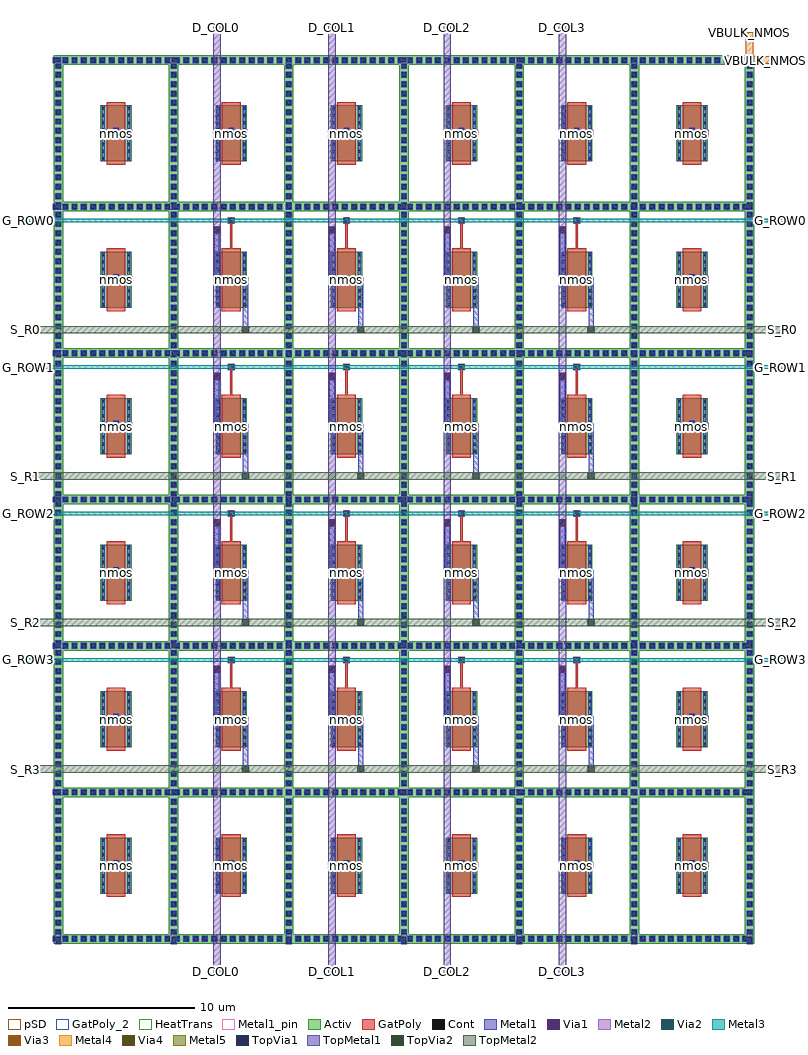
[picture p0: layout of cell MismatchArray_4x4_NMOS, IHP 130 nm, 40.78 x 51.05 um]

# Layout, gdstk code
import gdstk
lib = gdstk.Library(unit=1e-6, precision=1e-09)
def R(c, l, rs):  # rectangles x0, y0, x1, y1
    for r in rs: c.add(gdstk.rectangle(r[:2], r[2:], *l))
def A(c, l, x, y, w, h, nx, ny, dx, dy):  # array of equal rectangles
    R(c, l, [(x+i*dx, y+j*dy, x+i*dx+w, y+j*dy+h) for i in range(nx) for j in range(ny)])
Activ = (1, 0)
GatPoly = (5, 0)
GatPoly_2 = (5, 2)
Cont = (6, 0)
Metal1 = (8, 0)
Metal1_pin = (8, 2)
Metal2 = (10, 0)
pSD = (14, 0)
Via1 = (19, 0)
Via2 = (29, 0)
Metal3 = (30, 0)
Via3 = (49, 0)
Metal4 = (50, 0)
HeatTrans = (51, 0)
Via4 = (66, 0)
Metal5 = (67, 0)
TopVia1 = (125, 0)
TopMetal1 = (126, 0)
TopVia2 = (133, 0)
TopMetal2 = (134, 0)

mismatcharray_4x4_nmos = lib.new_cell('MismatchArray_4x4_NMOS')
A(mismatcharray_4x4_nmos, Activ, 0, 0, 0.5, 47.654, 7, 1, 6.18, 0)
A(mismatcharray_4x4_nmos, Activ, 0, 0, 37.58, 0.5, 1, 7, 0, 7.859)
A(mismatcharray_4x4_nmos, Activ, 2.5, 2.679, 0.3, 0.3, 1, 6, 0, 7.859)
A(mismatcharray_4x4_nmos, Activ, 2.5, 2.679, 1.68, 3, 6, 6, 6.18, 7.859)
A(mismatcharray_4x4_nmos, Activ, 3.88, 2.679, 0.3, 0.3, 1, 6, 0, 7.859)
A(mismatcharray_4x4_nmos, Activ, 8.68, 2.679, 0.3, 0.3, 1, 6, 0, 7.859)
A(mismatcharray_4x4_nmos, Activ, 10.06, 2.679, 0.3, 0.3, 1, 6, 0, 7.859)
A(mismatcharray_4x4_nmos, Activ, 14.86, 2.679, 0.3, 0.3, 1, 6, 0, 7.859)
A(mismatcharray_4x4_nmos, Activ, 16.24, 2.679, 0.3, 0.3, 1, 6, 0, 7.859)
A(mismatcharray_4x4_nmos, Activ, 21.04, 2.679, 0.3, 0.3, 1, 6, 0, 7.859)
A(mismatcharray_4x4_nmos, Activ, 22.42, 2.679, 0.3, 0.3, 1, 6, 0, 7.859)
A(mismatcharray_4x4_nmos, Activ, 27.22, 2.679, 0.3, 0.3, 1, 6, 0, 7.859)
A(mismatcharray_4x4_nmos, Activ, 28.6, 2.679, 0.3, 0.3, 1, 6, 0, 7.859)
A(mismatcharray_4x4_nmos, Activ, 33.4, 2.679, 0.3, 0.3, 1, 6, 0, 7.859)
A(mismatcharray_4x4_nmos, Activ, 34.78, 2.679, 0.3, 0.3, 1, 6, 0, 7.859)
A(mismatcharray_4x4_nmos, GatPoly, 2.84, 2.499, 1, 3.36, 6, 6, 6.18, 7.859)
A(mismatcharray_4x4_nmos, GatPoly, 3.275, 4.179, 0.13, 0.3, 6, 2, 6.18, 39.295)
A(mismatcharray_4x4_nmos, GatPoly, 3.275, 12.038, 0.13, 0.3, 1, 4, 0, 7.859)
A(mismatcharray_4x4_nmos, GatPoly, 34.175, 12.038, 0.13, 0.3, 1, 4, 0, 7.859)
A(mismatcharray_4x4_nmos, GatPoly, 9.455, 13.718, 0.13, 1.5, 4, 4, 6.18, 7.859)
A(mismatcharray_4x4_nmos, GatPoly_2, 2.84, 2.499, 1, 3.36, 6, 6, 6.18, 7.859)
A(mismatcharray_4x4_nmos, Cont, 0.14, 0, 0.22, 0.22, 7, 95, 6.18, 0.5)
A(mismatcharray_4x4_nmos, Cont, 0, 0.14, 0.22, 0.22, 1, 7, 0, 7.859)
A(mismatcharray_4x4_nmos, Cont, 0.14, 0.14, 0.22, 0.22, 1, 7, 0, 7.859)
A(mismatcharray_4x4_nmos, Cont, 0.5, 0.14, 0.22, 0.22, 12, 7, 0.5, 7.859)
A(mismatcharray_4x4_nmos, Cont, 6.32, 0.14, 0.22, 0.22, 1, 7, 0, 7.859)
A(mismatcharray_4x4_nmos, Cont, 6.5, 0.14, 0.22, 0.22, 13, 7, 0.5, 7.859)
A(mismatcharray_4x4_nmos, Cont, 12.5, 0.14, 0.22, 0.22, 13, 7, 0.5, 7.859)
A(mismatcharray_4x4_nmos, Cont, 18.68, 0.14, 0.22, 0.22, 1, 7, 0, 7.859)
A(mismatcharray_4x4_nmos, Cont, 19, 0.14, 0.22, 0.22, 12, 7, 0.5, 7.859)
A(mismatcharray_4x4_nmos, Cont, 24.86, 0.14, 0.22, 0.22, 1, 7, 0, 7.859)
A(mismatcharray_4x4_nmos, Cont, 25, 0.14, 0.22, 0.22, 13, 7, 0.5, 7.859)
A(mismatcharray_4x4_nmos, Cont, 31.04, 0.14, 0.22, 0.22, 1, 7, 0, 7.859)
A(mismatcharray_4x4_nmos, Cont, 31.5, 0.14, 0.22, 0.22, 12, 7, 0.5, 7.859)
A(mismatcharray_4x4_nmos, Cont, 37.22, 0.14, 0.22, 0.22, 1, 7, 0, 7.859)
A(mismatcharray_4x4_nmos, Cont, 2.57, 2.749, 0.16, 0.16, 1, 7, 0, 0.385)
A(mismatcharray_4x4_nmos, Cont, 3.95, 2.749, 0.16, 0.16, 1, 7, 0, 0.385)
A(mismatcharray_4x4_nmos, Cont, 8.75, 2.749, 0.16, 0.16, 1, 7, 0, 0.385)
A(mismatcharray_4x4_nmos, Cont, 10.13, 2.749, 0.16, 0.16, 1, 7, 0, 0.385)
A(mismatcharray_4x4_nmos, Cont, 14.93, 2.749, 0.16, 0.16, 1, 7, 0, 0.385)
A(mismatcharray_4x4_nmos, Cont, 16.31, 2.749, 0.16, 0.16, 1, 7, 0, 0.385)
A(mismatcharray_4x4_nmos, Cont, 21.11, 2.749, 0.16, 0.16, 1, 7, 0, 0.385)
A(mismatcharray_4x4_nmos, Cont, 22.49, 2.749, 0.16, 0.16, 1, 7, 0, 0.385)
A(mismatcharray_4x4_nmos, Cont, 27.29, 2.749, 0.16, 0.16, 1, 7, 0, 0.385)
A(mismatcharray_4x4_nmos, Cont, 28.67, 2.749, 0.16, 0.16, 1, 7, 0, 0.385)
A(mismatcharray_4x4_nmos, Cont, 33.47, 2.749, 0.16, 0.16, 1, 7, 0, 0.385)
A(mismatcharray_4x4_nmos, Cont, 34.85, 2.749, 0.16, 0.16, 1, 7, 0, 0.385)
A(mismatcharray_4x4_nmos, Cont, 3.23, 4.259, 0.22, 0.22, 6, 2, 6.18, 39.295)
A(mismatcharray_4x4_nmos, Cont, 2.57, 10.608, 0.16, 0.16, 1, 7, 0, 0.385)
A(mismatcharray_4x4_nmos, Cont, 3.95, 10.608, 0.16, 0.16, 1, 7, 0, 0.385)
A(mismatcharray_4x4_nmos, Cont, 8.75, 10.608, 0.16, 0.16, 1, 7, 0, 0.385)
A(mismatcharray_4x4_nmos, Cont, 10.13, 10.608, 0.16, 0.16, 1, 7, 0, 0.385)
A(mismatcharray_4x4_nmos, Cont, 14.93, 10.608, 0.16, 0.16, 1, 7, 0, 0.385)
A(mismatcharray_4x4_nmos, Cont, 16.31, 10.608, 0.16, 0.16, 1, 7, 0, 0.385)
A(mismatcharray_4x4_nmos, Cont, 21.11, 10.608, 0.16, 0.16, 1, 7, 0, 0.385)
A(mismatcharray_4x4_nmos, Cont, 22.49, 10.608, 0.16, 0.16, 1, 7, 0, 0.385)
A(mismatcharray_4x4_nmos, Cont, 27.29, 10.608, 0.16, 0.16, 1, 7, 0, 0.385)
A(mismatcharray_4x4_nmos, Cont, 28.67, 10.608, 0.16, 0.16, 1, 7, 0, 0.385)
A(mismatcharray_4x4_nmos, Cont, 33.47, 10.608, 0.16, 0.16, 1, 7, 0, 0.385)
A(mismatcharray_4x4_nmos, Cont, 34.85, 10.608, 0.16, 0.16, 1, 7, 0, 0.385)
A(mismatcharray_4x4_nmos, Cont, 3.23, 12.118, 0.22, 0.22, 1, 4, 0, 7.859)
A(mismatcharray_4x4_nmos, Cont, 34.13, 12.118, 0.22, 0.22, 1, 4, 0, 7.859)
A(mismatcharray_4x4_nmos, Cont, 9.41, 15.108, 0.22, 0.22, 4, 4, 6.18, 7.859)
A(mismatcharray_4x4_nmos, Cont, 2.57, 18.467, 0.16, 0.16, 1, 7, 0, 0.385)
A(mismatcharray_4x4_nmos, Cont, 3.95, 18.467, 0.16, 0.16, 1, 7, 0, 0.385)
A(mismatcharray_4x4_nmos, Cont, 8.75, 18.467, 0.16, 0.16, 1, 7, 0, 0.385)
A(mismatcharray_4x4_nmos, Cont, 10.13, 18.467, 0.16, 0.16, 1, 7, 0, 0.385)
A(mismatcharray_4x4_nmos, Cont, 14.93, 18.467, 0.16, 0.16, 1, 7, 0, 0.385)
A(mismatcharray_4x4_nmos, Cont, 16.31, 18.467, 0.16, 0.16, 1, 7, 0, 0.385)
A(mismatcharray_4x4_nmos, Cont, 21.11, 18.467, 0.16, 0.16, 1, 7, 0, 0.385)
A(mismatcharray_4x4_nmos, Cont, 22.49, 18.467, 0.16, 0.16, 1, 7, 0, 0.385)
A(mismatcharray_4x4_nmos, Cont, 27.29, 18.467, 0.16, 0.16, 1, 7, 0, 0.385)
A(mismatcharray_4x4_nmos, Cont, 28.67, 18.467, 0.16, 0.16, 1, 7, 0, 0.385)
A(mismatcharray_4x4_nmos, Cont, 33.47, 18.467, 0.16, 0.16, 1, 7, 0, 0.385)
A(mismatcharray_4x4_nmos, Cont, 34.85, 18.467, 0.16, 0.16, 1, 7, 0, 0.385)
A(mismatcharray_4x4_nmos, Cont, 2.57, 26.326, 0.16, 0.16, 1, 7, 0, 0.385)
A(mismatcharray_4x4_nmos, Cont, 3.95, 26.326, 0.16, 0.16, 1, 7, 0, 0.385)
A(mismatcharray_4x4_nmos, Cont, 8.75, 26.326, 0.16, 0.16, 1, 7, 0, 0.385)
A(mismatcharray_4x4_nmos, Cont, 10.13, 26.326, 0.16, 0.16, 1, 7, 0, 0.385)
A(mismatcharray_4x4_nmos, Cont, 14.93, 26.326, 0.16, 0.16, 1, 7, 0, 0.385)
A(mismatcharray_4x4_nmos, Cont, 16.31, 26.326, 0.16, 0.16, 1, 7, 0, 0.385)
A(mismatcharray_4x4_nmos, Cont, 21.11, 26.326, 0.16, 0.16, 1, 7, 0, 0.385)
A(mismatcharray_4x4_nmos, Cont, 22.49, 26.326, 0.16, 0.16, 1, 7, 0, 0.385)
A(mismatcharray_4x4_nmos, Cont, 27.29, 26.326, 0.16, 0.16, 1, 7, 0, 0.385)
A(mismatcharray_4x4_nmos, Cont, 28.67, 26.326, 0.16, 0.16, 1, 7, 0, 0.385)
A(mismatcharray_4x4_nmos, Cont, 33.47, 26.326, 0.16, 0.16, 1, 7, 0, 0.385)
A(mismatcharray_4x4_nmos, Cont, 34.85, 26.326, 0.16, 0.16, 1, 7, 0, 0.385)
A(mismatcharray_4x4_nmos, Cont, 2.57, 34.185, 0.16, 0.16, 1, 7, 0, 0.385)
A(mismatcharray_4x4_nmos, Cont, 3.95, 34.185, 0.16, 0.16, 1, 7, 0, 0.385)
A(mismatcharray_4x4_nmos, Cont, 8.75, 34.185, 0.16, 0.16, 1, 7, 0, 0.385)
A(mismatcharray_4x4_nmos, Cont, 10.13, 34.185, 0.16, 0.16, 1, 7, 0, 0.385)
A(mismatcharray_4x4_nmos, Cont, 14.93, 34.185, 0.16, 0.16, 1, 7, 0, 0.385)
A(mismatcharray_4x4_nmos, Cont, 16.31, 34.185, 0.16, 0.16, 1, 7, 0, 0.385)
A(mismatcharray_4x4_nmos, Cont, 21.11, 34.185, 0.16, 0.16, 1, 7, 0, 0.385)
A(mismatcharray_4x4_nmos, Cont, 22.49, 34.185, 0.16, 0.16, 1, 7, 0, 0.385)
A(mismatcharray_4x4_nmos, Cont, 27.29, 34.185, 0.16, 0.16, 1, 7, 0, 0.385)
A(mismatcharray_4x4_nmos, Cont, 28.67, 34.185, 0.16, 0.16, 1, 7, 0, 0.385)
A(mismatcharray_4x4_nmos, Cont, 33.47, 34.185, 0.16, 0.16, 1, 7, 0, 0.385)
A(mismatcharray_4x4_nmos, Cont, 34.85, 34.185, 0.16, 0.16, 1, 7, 0, 0.385)
A(mismatcharray_4x4_nmos, Cont, 2.57, 42.044, 0.16, 0.16, 1, 7, 0, 0.385)
A(mismatcharray_4x4_nmos, Cont, 3.95, 42.044, 0.16, 0.16, 1, 7, 0, 0.385)
A(mismatcharray_4x4_nmos, Cont, 8.75, 42.044, 0.16, 0.16, 1, 7, 0, 0.385)
A(mismatcharray_4x4_nmos, Cont, 10.13, 42.044, 0.16, 0.16, 1, 7, 0, 0.385)
A(mismatcharray_4x4_nmos, Cont, 14.93, 42.044, 0.16, 0.16, 1, 7, 0, 0.385)
A(mismatcharray_4x4_nmos, Cont, 16.31, 42.044, 0.16, 0.16, 1, 7, 0, 0.385)
A(mismatcharray_4x4_nmos, Cont, 21.11, 42.044, 0.16, 0.16, 1, 7, 0, 0.385)
A(mismatcharray_4x4_nmos, Cont, 22.49, 42.044, 0.16, 0.16, 1, 7, 0, 0.385)
A(mismatcharray_4x4_nmos, Cont, 27.29, 42.044, 0.16, 0.16, 1, 7, 0, 0.385)
A(mismatcharray_4x4_nmos, Cont, 28.67, 42.044, 0.16, 0.16, 1, 7, 0, 0.385)
A(mismatcharray_4x4_nmos, Cont, 33.47, 42.044, 0.16, 0.16, 1, 7, 0, 0.385)
A(mismatcharray_4x4_nmos, Cont, 34.85, 42.044, 0.16, 0.16, 1, 7, 0, 0.385)
R(mismatcharray_4x4_nmos, Cont, [(2.57,5.449,2.73,5.609), (3.95,5.449,4.11,5.609), (8.75,5.449,8.91,5.609), (10.13,5.449,10.29,5.609), (14.93,5.449,15.09,5.609), (16.31,5.449,16.47,5.609), (21.11,5.449,21.27,5.609), (22.49,5.449,22.65,5.609), (27.29,5.449,27.45,5.609), (28.67,5.449,28.83,5.609), (33.47,5.449,33.63,5.609), (34.85,5.449,35.01,5.609), (2.57,13.308,2.73,13.468), (3.95,13.308,4.11,13.468), (8.75,13.308,8.91,13.468), (10.13,13.308,10.29,13.468), (14.93,13.308,15.09,13.468), (16.31,13.308,16.47,13.468), (21.11,13.308,21.27,13.468), (22.49,13.308,22.65,13.468), (27.29,13.308,27.45,13.468), (28.67,13.308,28.83,13.468), (33.47,13.308,33.63,13.468), (34.85,13.308,35.01,13.468), (2.57,21.167,2.73,21.327), (3.95,21.167,4.11,21.327), (8.75,21.167,8.91,21.327), (10.13,21.167,10.29,21.327), (14.93,21.167,15.09,21.327), (16.31,21.167,16.47,21.327), (21.11,21.167,21.27,21.327), (22.49,21.167,22.65,21.327), (27.29,21.167,27.45,21.327), (28.67,21.167,28.83,21.327), (33.47,21.167,33.63,21.327), (34.85,21.167,35.01,21.327), (2.57,29.026,2.73,29.186), (3.95,29.026,4.11,29.186), (8.75,29.026,8.91,29.186), (10.13,29.026,10.29,29.186), (14.93,29.026,15.09,29.186), (16.31,29.026,16.47,29.186), (21.11,29.026,21.27,29.186), (22.49,29.026,22.65,29.186), (27.29,29.026,27.45,29.186), (28.67,29.026,28.83,29.186), (33.47,29.026,33.63,29.186), (34.85,29.026,35.01,29.186), (2.57,36.885,2.73,37.045), (3.95,36.885,4.11,37.045), (8.75,36.885,8.91,37.045), (10.13,36.885,10.29,37.045), (14.93,36.885,15.09,37.045), (16.31,36.885,16.47,37.045), (21.11,36.885,21.27,37.045), (22.49,36.885,22.65,37.045), (27.29,36.885,27.45,37.045), (28.67,36.885,28.83,37.045), (33.47,36.885,33.63,37.045), (34.85,36.885,35.01,37.045), (2.57,44.744,2.73,44.904), (3.95,44.744,4.11,44.904), (8.75,44.744,8.91,44.904), (10.13,44.744,10.29,44.904), (14.93,44.744,15.09,44.904), (16.31,44.744,16.47,44.904), (21.11,44.744,21.27,44.904), (22.49,44.744,22.65,44.904), (27.29,44.744,27.45,44.904), (28.67,44.744,28.83,44.904), (33.47,44.744,33.63,44.904), (34.85,44.744,35.01,44.904)])
A(mismatcharray_4x4_nmos, Metal1, 0.09, -0.05, 0.32, 0.32, 7, 95, 6.18, 0.5)
A(mismatcharray_4x4_nmos, Metal1, -0.05, 0.09, 0.32, 0.32, 1, 7, 0, 7.859)
A(mismatcharray_4x4_nmos, Metal1, 0.09, 0.09, 0.32, 0.32, 1, 7, 0, 7.859)
A(mismatcharray_4x4_nmos, Metal1, 0.45, 0.09, 0.32, 0.32, 12, 7, 0.5, 7.859)
A(mismatcharray_4x4_nmos, Metal1, 6.27, 0.09, 0.32, 0.32, 1, 7, 0, 7.859)
A(mismatcharray_4x4_nmos, Metal1, 6.45, 0.09, 0.32, 0.32, 13, 7, 0.5, 7.859)
A(mismatcharray_4x4_nmos, Metal1, 12.45, 0.09, 0.32, 0.32, 13, 7, 0.5, 7.859)
A(mismatcharray_4x4_nmos, Metal1, 18.63, 0.09, 0.32, 0.32, 1, 7, 0, 7.859)
A(mismatcharray_4x4_nmos, Metal1, 18.95, 0.09, 0.32, 0.32, 12, 7, 0.5, 7.859)
A(mismatcharray_4x4_nmos, Metal1, 24.81, 0.09, 0.32, 0.32, 1, 7, 0, 7.859)
A(mismatcharray_4x4_nmos, Metal1, 24.95, 0.09, 0.32, 0.32, 13, 7, 0.5, 7.859)
A(mismatcharray_4x4_nmos, Metal1, 30.99, 0.09, 0.32, 0.32, 1, 7, 0, 7.859)
A(mismatcharray_4x4_nmos, Metal1, 31.45, 0.09, 0.32, 0.32, 12, 7, 0.5, 7.859)
A(mismatcharray_4x4_nmos, Metal1, 37.17, 0.09, 0.32, 0.32, 1, 7, 0, 7.859)
A(mismatcharray_4x4_nmos, Metal1, 2.57, 2.679, 0.16, 3, 1, 6, 0, 7.859)
A(mismatcharray_4x4_nmos, Metal1, 3.95, 2.679, 0.16, 3, 1, 6, 0, 7.859)
A(mismatcharray_4x4_nmos, Metal1, 8.75, 2.679, 0.16, 3, 1, 6, 0, 7.859)
A(mismatcharray_4x4_nmos, Metal1, 10.13, 2.679, 0.16, 3, 1, 6, 0, 7.859)
A(mismatcharray_4x4_nmos, Metal1, 14.93, 2.679, 0.16, 3, 1, 6, 0, 7.859)
A(mismatcharray_4x4_nmos, Metal1, 16.31, 2.679, 0.16, 3, 1, 6, 0, 7.859)
A(mismatcharray_4x4_nmos, Metal1, 21.11, 2.679, 0.16, 3, 1, 6, 0, 7.859)
A(mismatcharray_4x4_nmos, Metal1, 22.49, 2.679, 0.16, 3, 1, 6, 0, 7.859)
A(mismatcharray_4x4_nmos, Metal1, 27.29, 2.679, 0.16, 3, 1, 6, 0, 7.859)
A(mismatcharray_4x4_nmos, Metal1, 28.67, 2.679, 0.16, 3, 1, 6, 0, 7.859)
A(mismatcharray_4x4_nmos, Metal1, 33.47, 2.679, 0.16, 3, 1, 6, 0, 7.859)
A(mismatcharray_4x4_nmos, Metal1, 34.85, 2.679, 0.16, 3, 1, 6, 0, 7.859)
A(mismatcharray_4x4_nmos, Metal1, 3.2, 3.999, 0.28, 0.48, 6, 2, 6.18, 39.295)
A(mismatcharray_4x4_nmos, Metal1, 10.15, 9.218, 0.28, 2.96, 4, 4, 6.18, 7.859)
A(mismatcharray_4x4_nmos, Metal1, 3.2, 11.858, 0.28, 0.48, 1, 4, 0, 7.859)
A(mismatcharray_4x4_nmos, Metal1, 34.1, 11.858, 0.28, 0.48, 1, 4, 0, 7.859)
A(mismatcharray_4x4_nmos, Metal1, 8.61, 11.898, 0.28, 2.96, 4, 4, 6.18, 7.859)
A(mismatcharray_4x4_nmos, Metal1, 9.36, 15.058, 0.32, 0.32, 4, 4, 6.18, 7.859)
A(mismatcharray_4x4_nmos, Metal1_pin, 2.57, 2.679, 0.16, 3, 1, 6, 0, 7.859)
A(mismatcharray_4x4_nmos, Metal1_pin, 3.95, 2.679, 0.16, 3, 1, 6, 0, 7.859)
A(mismatcharray_4x4_nmos, Metal1_pin, 8.75, 2.679, 0.16, 3, 1, 6, 0, 7.859)
A(mismatcharray_4x4_nmos, Metal1_pin, 10.13, 2.679, 0.16, 3, 1, 6, 0, 7.859)
A(mismatcharray_4x4_nmos, Metal1_pin, 14.93, 2.679, 0.16, 3, 1, 6, 0, 7.859)
A(mismatcharray_4x4_nmos, Metal1_pin, 16.31, 2.679, 0.16, 3, 1, 6, 0, 7.859)
A(mismatcharray_4x4_nmos, Metal1_pin, 21.11, 2.679, 0.16, 3, 1, 6, 0, 7.859)
A(mismatcharray_4x4_nmos, Metal1_pin, 22.49, 2.679, 0.16, 3, 1, 6, 0, 7.859)
A(mismatcharray_4x4_nmos, Metal1_pin, 27.29, 2.679, 0.16, 3, 1, 6, 0, 7.859)
A(mismatcharray_4x4_nmos, Metal1_pin, 28.67, 2.679, 0.16, 3, 1, 6, 0, 7.859)
A(mismatcharray_4x4_nmos, Metal1_pin, 33.47, 2.679, 0.16, 3, 1, 6, 0, 7.859)
A(mismatcharray_4x4_nmos, Metal1_pin, 34.85, 2.679, 0.16, 3, 1, 6, 0, 7.859)
A(mismatcharray_4x4_nmos, Metal2, 2.45, 3.999, 1.78, 0.36, 6, 2, 6.18, 39.295)
A(mismatcharray_4x4_nmos, Metal2, 10.11, 9.178, 0.36, 0.36, 4, 4, 6.18, 7.859)
A(mismatcharray_4x4_nmos, Metal2, 2.45, 11.858, 1.78, 0.36, 1, 4, 0, 7.859)
A(mismatcharray_4x4_nmos, Metal2, 33.35, 11.858, 1.78, 0.36, 1, 4, 0, 7.859)
A(mismatcharray_4x4_nmos, Metal2, 8.57, 14.538, 0.36, 0.36, 4, 4, 6.18, 7.859)
A(mismatcharray_4x4_nmos, Metal2, 9.34, 15.038, 0.36, 0.36, 4, 4, 6.18, 7.859)
R(mismatcharray_4x4_nmos, Metal2, [(37.15,47.224,37.51,47.584)])
A(mismatcharray_4x4_nmos, pSD, 0, 0, 0.5, 47.654, 7, 1, 6.18, 0)
A(mismatcharray_4x4_nmos, pSD, 0, 0, 37.58, 0.5, 1, 7, 0, 7.859)
A(mismatcharray_4x4_nmos, Via1, 2.52, 4.049, 0.26, 0.26, 3, 6, 0.69, 7.859)
A(mismatcharray_4x4_nmos, Via1, 8.7, 4.049, 0.26, 0.26, 3, 2, 0.69, 39.295)
A(mismatcharray_4x4_nmos, Via1, 14.88, 4.049, 0.26, 0.26, 3, 2, 0.69, 39.295)
A(mismatcharray_4x4_nmos, Via1, 21.06, 4.049, 0.26, 0.26, 3, 2, 0.69, 39.295)
A(mismatcharray_4x4_nmos, Via1, 27.24, 4.049, 0.26, 0.26, 3, 2, 0.69, 39.295)
A(mismatcharray_4x4_nmos, Via1, 33.42, 4.049, 0.26, 0.26, 3, 6, 0.69, 7.859)
A(mismatcharray_4x4_nmos, Via1, 10.16, 9.228, 0.26, 0.26, 4, 4, 6.18, 7.859)
A(mismatcharray_4x4_nmos, Via1, 8.62, 14.588, 0.26, 0.26, 4, 4, 6.18, 7.859)
A(mismatcharray_4x4_nmos, Via1, 9.39, 15.088, 0.26, 0.26, 4, 4, 6.18, 7.859)
R(mismatcharray_4x4_nmos, Via1, [(37.2,47.274,37.46,47.534)])
A(mismatcharray_4x4_nmos, Via2, 10.16, 9.228, 0.26, 0.26, 4, 4, 6.18, 7.859)
A(mismatcharray_4x4_nmos, Via2, 8.62, 14.588, 0.26, 0.26, 4, 4, 6.18, 7.859)
A(mismatcharray_4x4_nmos, Via2, 9.39, 15.088, 0.26, 0.26, 4, 4, 6.18, 7.859)
R(mismatcharray_4x4_nmos, Via2, [(37.2,47.274,37.46,47.534)])
A(mismatcharray_4x4_nmos, Metal3, 10.19, 9.258, 0.2, 0.2, 4, 4, 6.18, 7.859)
A(mismatcharray_4x4_nmos, Metal3, 8.65, 14.618, 0.2, 0.2, 4, 4, 6.18, 7.859)
A(mismatcharray_4x4_nmos, Metal3, -1.6, 15.118, 40.78, 0.2, 1, 4, 0, 7.859)
A(mismatcharray_4x4_nmos, Metal3, 9.42, 15.118, 0.2, 0.2, 4, 4, 6.18, 7.859)
R(mismatcharray_4x4_nmos, Metal3, [(37.23,47.304,37.43,47.504)])
A(mismatcharray_4x4_nmos, Via3, 10.16, 9.228, 0.26, 0.26, 4, 4, 6.18, 7.859)
A(mismatcharray_4x4_nmos, Via3, 8.62, 14.588, 0.26, 0.26, 4, 4, 6.18, 7.859)
R(mismatcharray_4x4_nmos, Via3, [(37.2,47.274,37.46,47.534)])
A(mismatcharray_4x4_nmos, Metal4, 10.09, 9.158, 0.4, 0.4, 4, 4, 6.18, 7.859)
A(mismatcharray_4x4_nmos, Metal4, 8.55, 14.518, 0.4, 0.4, 4, 4, 6.18, 7.859)
R(mismatcharray_4x4_nmos, Metal4, [(37.13,47.204,38.83,47.604), (37.13,47.204,37.53,48.904)])
A(mismatcharray_4x4_nmos, HeatTrans, 2.84, 2.499, 1, 3.36, 6, 6, 6.18, 7.859)
A(mismatcharray_4x4_nmos, Via4, 10.16, 9.228, 0.26, 0.26, 4, 4, 6.18, 7.859)
A(mismatcharray_4x4_nmos, Via4, 8.62, 14.588, 0.26, 0.26, 4, 4, 6.18, 7.859)
A(mismatcharray_4x4_nmos, Metal5, 10.09, 9.158, 0.4, 0.4, 4, 4, 6.18, 7.859)
A(mismatcharray_4x4_nmos, Metal5, 8.55, 14.518, 0.4, 0.4, 4, 4, 6.18, 7.859)
A(mismatcharray_4x4_nmos, TopVia1, 10.11, 9.178, 0.36, 0.36, 4, 4, 6.18, 7.859)
A(mismatcharray_4x4_nmos, TopVia1, 8.57, 14.538, 0.36, 0.36, 4, 4, 6.18, 7.859)
A(mismatcharray_4x4_nmos, TopMetal1, 8.55, -1.701, 0.4, 51.055, 4, 1, 6.18, 0)
A(mismatcharray_4x4_nmos, TopMetal1, 10.09, 9.158, 0.4, 0.4, 4, 4, 6.18, 7.859)
A(mismatcharray_4x4_nmos, TopMetal1, 8.55, 14.518, 0.4, 0.4, 4, 4, 6.18, 7.859)
A(mismatcharray_4x4_nmos, TopVia2, 10.11, 9.178, 0.36, 0.36, 4, 4, 6.18, 7.859)
A(mismatcharray_4x4_nmos, TopMetal2, -1.5, 9.158, 40.58, 0.4, 1, 4, 0, 7.859)
A(mismatcharray_4x4_nmos, TopMetal2, 10.09, 9.158, 0.4, 0.4, 4, 4, 6.18, 7.859)
mismatcharray_4x4_nmos.add(gdstk.Label('VBULK_NMOS', (38.83,47.404), layer=63, texttype=0))
mismatcharray_4x4_nmos.add(gdstk.Label('VBULK_NMOS', (37.33,48.904), layer=63, texttype=0))
mismatcharray_4x4_nmos.add(gdstk.Label('G_ROW3', (-1.5,15.218), layer=63, texttype=0))
mismatcharray_4x4_nmos.add(gdstk.Label('G_ROW3', (39.08,15.218), layer=63, texttype=0))
mismatcharray_4x4_nmos.add(gdstk.Label('G_ROW2', (-1.5,23.077), layer=63, texttype=0))
mismatcharray_4x4_nmos.add(gdstk.Label('G_ROW2', (39.08,23.077), layer=63, texttype=0))
mismatcharray_4x4_nmos.add(gdstk.Label('G_ROW1', (-1.5,30.936), layer=63, texttype=0))
mismatcharray_4x4_nmos.add(gdstk.Label('G_ROW1', (39.08,30.936), layer=63, texttype=0))
mismatcharray_4x4_nmos.add(gdstk.Label('G_ROW0', (-1.5,38.795), layer=63, texttype=0))
mismatcharray_4x4_nmos.add(gdstk.Label('G_ROW0', (39.08,38.795), layer=63, texttype=0))
mismatcharray_4x4_nmos.add(gdstk.Label('D_COL0', (8.75,-1.501), layer=63, texttype=0))
mismatcharray_4x4_nmos.add(gdstk.Label('D_COL0', (8.75,49.154), layer=63, texttype=0))
mismatcharray_4x4_nmos.add(gdstk.Label('D_COL1', (14.93,-1.501), layer=63, texttype=0))
mismatcharray_4x4_nmos.add(gdstk.Label('D_COL1', (14.93,49.154), layer=63, texttype=0))
mismatcharray_4x4_nmos.add(gdstk.Label('D_COL2', (21.11,-1.501), layer=63, texttype=0))
mismatcharray_4x4_nmos.add(gdstk.Label('D_COL2', (21.11,49.154), layer=63, texttype=0))
mismatcharray_4x4_nmos.add(gdstk.Label('D_COL3', (27.29,-1.501), layer=63, texttype=0))
mismatcharray_4x4_nmos.add(gdstk.Label('D_COL3', (27.29,49.154), layer=63, texttype=0))
mismatcharray_4x4_nmos.add(gdstk.Label('S_R3', (-1.5,9.358), layer=63, texttype=0))
mismatcharray_4x4_nmos.add(gdstk.Label('S_R3', (39.08,9.358), layer=63, texttype=0))
mismatcharray_4x4_nmos.add(gdstk.Label('S_R2', (-1.5,17.217), layer=63, texttype=0))
mismatcharray_4x4_nmos.add(gdstk.Label('S_R2', (39.08,17.217), layer=63, texttype=0))
mismatcharray_4x4_nmos.add(gdstk.Label('S_R1', (-1.5,25.076), layer=63, texttype=0))
mismatcharray_4x4_nmos.add(gdstk.Label('S_R1', (39.08,25.076), layer=63, texttype=0))
mismatcharray_4x4_nmos.add(gdstk.Label('S_R0', (-1.5,32.935), layer=63, texttype=0))
mismatcharray_4x4_nmos.add(gdstk.Label('S_R0', (39.08,32.935), layer=63, texttype=0))
mismatcharray_4x4_nmos.add(gdstk.Label('nmos', (3.34,4.179), layer=63, texttype=0))
mismatcharray_4x4_nmos.add(gdstk.Label('nmos', (9.52,4.179), layer=63, texttype=0))
mismatcharray_4x4_nmos.add(gdstk.Label('nmos', (15.7,4.179), layer=63, texttype=0))
mismatcharray_4x4_nmos.add(gdstk.Label('nmos', (21.88,4.179), layer=63, texttype=0))
mismatcharray_4x4_nmos.add(gdstk.Label('nmos', (28.06,4.179), layer=63, texttype=0))
mismatcharray_4x4_nmos.add(gdstk.Label('nmos', (34.24,4.179), layer=63, texttype=0))
mismatcharray_4x4_nmos.add(gdstk.Label('nmos', (3.34,12.038), layer=63, texttype=0))
mismatcharray_4x4_nmos.add(gdstk.Label('nmos', (9.52,12.038), layer=63, texttype=0))
mismatcharray_4x4_nmos.add(gdstk.Label('nmos', (15.7,12.038), layer=63, texttype=0))
mismatcharray_4x4_nmos.add(gdstk.Label('nmos', (21.88,12.038), layer=63, texttype=0))
mismatcharray_4x4_nmos.add(gdstk.Label('nmos', (28.06,12.038), layer=63, texttype=0))
mismatcharray_4x4_nmos.add(gdstk.Label('nmos', (34.24,12.038), layer=63, texttype=0))
mismatcharray_4x4_nmos.add(gdstk.Label('nmos', (3.34,19.897), layer=63, texttype=0))
mismatcharray_4x4_nmos.add(gdstk.Label('nmos', (9.52,19.897), layer=63, texttype=0))
mismatcharray_4x4_nmos.add(gdstk.Label('nmos', (15.7,19.897), layer=63, texttype=0))
mismatcharray_4x4_nmos.add(gdstk.Label('nmos', (21.88,19.897), layer=63, texttype=0))
mismatcharray_4x4_nmos.add(gdstk.Label('nmos', (28.06,19.897), layer=63, texttype=0))
mismatcharray_4x4_nmos.add(gdstk.Label('nmos', (34.24,19.897), layer=63, texttype=0))
mismatcharray_4x4_nmos.add(gdstk.Label('nmos', (3.34,27.756), layer=63, texttype=0))
mismatcharray_4x4_nmos.add(gdstk.Label('nmos', (9.52,27.756), layer=63, texttype=0))
mismatcharray_4x4_nmos.add(gdstk.Label('nmos', (15.7,27.756), layer=63, texttype=0))
mismatcharray_4x4_nmos.add(gdstk.Label('nmos', (21.88,27.756), layer=63, texttype=0))
mismatcharray_4x4_nmos.add(gdstk.Label('nmos', (28.06,27.756), layer=63, texttype=0))
mismatcharray_4x4_nmos.add(gdstk.Label('nmos', (34.24,27.756), layer=63, texttype=0))
mismatcharray_4x4_nmos.add(gdstk.Label('nmos', (3.34,35.615), layer=63, texttype=0))
mismatcharray_4x4_nmos.add(gdstk.Label('nmos', (9.52,35.615), layer=63, texttype=0))
mismatcharray_4x4_nmos.add(gdstk.Label('nmos', (15.7,35.615), layer=63, texttype=0))
mismatcharray_4x4_nmos.add(gdstk.Label('nmos', (21.88,35.615), layer=63, texttype=0))
mismatcharray_4x4_nmos.add(gdstk.Label('nmos', (28.06,35.615), layer=63, texttype=0))
mismatcharray_4x4_nmos.add(gdstk.Label('nmos', (34.24,35.615), layer=63, texttype=0))
mismatcharray_4x4_nmos.add(gdstk.Label('nmos', (3.34,43.474), layer=63, texttype=0))
mismatcharray_4x4_nmos.add(gdstk.Label('nmos', (9.52,43.474), layer=63, texttype=0))
mismatcharray_4x4_nmos.add(gdstk.Label('nmos', (15.7,43.474), layer=63, texttype=0))
mismatcharray_4x4_nmos.add(gdstk.Label('nmos', (21.88,43.474), layer=63, texttype=0))
mismatcharray_4x4_nmos.add(gdstk.Label('nmos', (28.06,43.474), layer=63, texttype=0))
mismatcharray_4x4_nmos.add(gdstk.Label('nmos', (34.24,43.474), layer=63, texttype=0))
mismatcharray_4x4_nmos.add(gdstk.Label('NMOS Mismatch Array 4x4 - W=3.0Âµm L=1Âµm', (18.79,59.354), layer=63, texttype=0))
mismatcharray_4x4_nmos.add(gdstk.Label('nmos', (3.34,4.179), layer=51, texttype=0))
mismatcharray_4x4_nmos.add(gdstk.Label('nmos', (9.52,4.179), layer=51, texttype=0))
mismatcharray_4x4_nmos.add(gdstk.Label('nmos', (15.7,4.179), layer=51, texttype=0))
mismatcharray_4x4_nmos.add(gdstk.Label('nmos', (21.88,4.179), layer=51, texttype=0))
mismatcharray_4x4_nmos.add(gdstk.Label('nmos', (28.06,4.179), layer=51, texttype=0))
mismatcharray_4x4_nmos.add(gdstk.Label('nmos', (34.24,4.179), layer=51, texttype=0))
mismatcharray_4x4_nmos.add(gdstk.Label('nmos', (3.34,12.038), layer=51, texttype=0))
mismatcharray_4x4_nmos.add(gdstk.Label('nmos', (9.52,12.038), layer=51, texttype=0))
mismatcharray_4x4_nmos.add(gdstk.Label('nmos', (15.7,12.038), layer=51, texttype=0))
mismatcharray_4x4_nmos.add(gdstk.Label('nmos', (21.88,12.038), layer=51, texttype=0))
mismatcharray_4x4_nmos.add(gdstk.Label('nmos', (28.06,12.038), layer=51, texttype=0))
mismatcharray_4x4_nmos.add(gdstk.Label('nmos', (34.24,12.038), layer=51, texttype=0))
mismatcharray_4x4_nmos.add(gdstk.Label('nmos', (3.34,19.897), layer=51, texttype=0))
mismatcharray_4x4_nmos.add(gdstk.Label('nmos', (9.52,19.897), layer=51, texttype=0))
mismatcharray_4x4_nmos.add(gdstk.Label('nmos', (15.7,19.897), layer=51, texttype=0))
mismatcharray_4x4_nmos.add(gdstk.Label('nmos', (21.88,19.897), layer=51, texttype=0))
mismatcharray_4x4_nmos.add(gdstk.Label('nmos', (28.06,19.897), layer=51, texttype=0))
mismatcharray_4x4_nmos.add(gdstk.Label('nmos', (34.24,19.897), layer=51, texttype=0))
mismatcharray_4x4_nmos.add(gdstk.Label('nmos', (3.34,27.756), layer=51, texttype=0))
mismatcharray_4x4_nmos.add(gdstk.Label('nmos', (9.52,27.756), layer=51, texttype=0))
mismatcharray_4x4_nmos.add(gdstk.Label('nmos', (15.7,27.756), layer=51, texttype=0))
mismatcharray_4x4_nmos.add(gdstk.Label('nmos', (21.88,27.756), layer=51, texttype=0))
mismatcharray_4x4_nmos.add(gdstk.Label('nmos', (28.06,27.756), layer=51, texttype=0))
mismatcharray_4x4_nmos.add(gdstk.Label('nmos', (34.24,27.756), layer=51, texttype=0))
mismatcharray_4x4_nmos.add(gdstk.Label('nmos', (3.34,35.615), layer=51, texttype=0))
mismatcharray_4x4_nmos.add(gdstk.Label('nmos', (9.52,35.615), layer=51, texttype=0))
mismatcharray_4x4_nmos.add(gdstk.Label('nmos', (15.7,35.615), layer=51, texttype=0))
mismatcharray_4x4_nmos.add(gdstk.Label('nmos', (21.88,35.615), layer=51, texttype=0))
mismatcharray_4x4_nmos.add(gdstk.Label('nmos', (28.06,35.615), layer=51, texttype=0))
mismatcharray_4x4_nmos.add(gdstk.Label('nmos', (34.24,35.615), layer=51, texttype=0))
mismatcharray_4x4_nmos.add(gdstk.Label('nmos', (3.34,43.474), layer=51, texttype=0))
mismatcharray_4x4_nmos.add(gdstk.Label('nmos', (9.52,43.474), layer=51, texttype=0))
mismatcharray_4x4_nmos.add(gdstk.Label('nmos', (15.7,43.474), layer=51, texttype=0))
mismatcharray_4x4_nmos.add(gdstk.Label('nmos', (21.88,43.474), layer=51, texttype=0))
mismatcharray_4x4_nmos.add(gdstk.Label('nmos', (28.06,43.474), layer=51, texttype=0))
mismatcharray_4x4_nmos.add(gdstk.Label('nmos', (34.24,43.474), layer=51, texttype=0))

lib.write_gds('MismatchArray_4x4_NMOS.gds')
